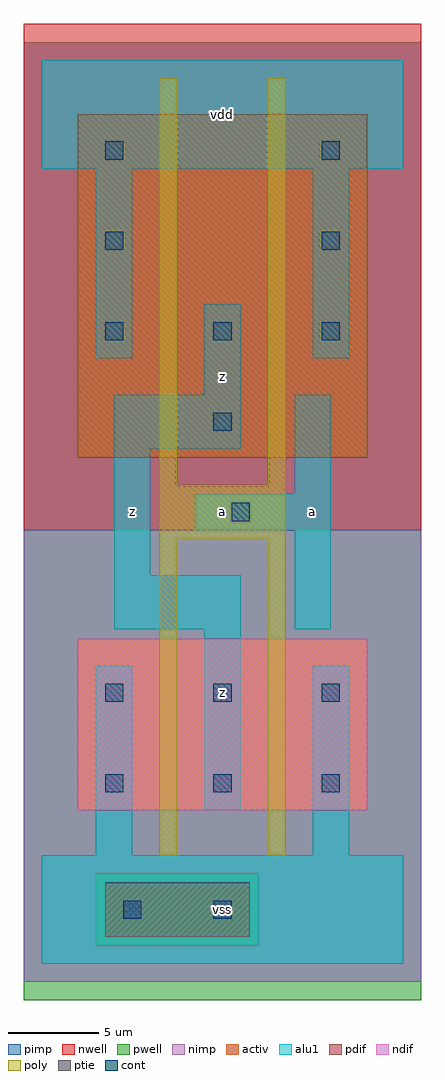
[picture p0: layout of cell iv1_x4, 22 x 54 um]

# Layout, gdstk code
import gdstk
lib = gdstk.Library(unit=1e-6, precision=1e-09)
def R(c, l, rs):  # rectangles x0, y0, x1, y1
    for r in rs: c.add(gdstk.rectangle(r[:2], r[2:], *l))
def A(c, l, x, y, w, h, nx, ny, dx, dy):  # array of equal rectangles
    R(c, l, [(x+i*dx, y+j*dy, x+i*dx+w, y+j*dy+h) for i in range(nx) for j in range(ny)])
ndif = (3, 0)
pdif = (4, 0)
ptie = (6, 0)
cont = (25, 0)
pwell = (41, 0)
nwell = (42, 0)
activ = (43, 0)
pimp = (44, 0)
nimp = (45, 0)
poly = (46, 0)
alu1 = (49, 0)

iv1_x4 = lib.new_cell('iv1_x4')
R(iv1_x4, ndif, [(2,8.5,18,18)])
R(iv1_x4, pdif, [(2,28,18,47)])
R(iv1_x4, ptie, [(3.5,1.5,11.5,4.5)])
A(iv1_x4, cont, 3.5, 9.5, 1, 1, 3, 2, 6, 5)
A(iv1_x4, cont, 3.5, 34.5, 1, 1, 3, 1, 6, 0)
R(iv1_x4, cont, [(4.5,2.5,5.5,3.5), (9.5,2.5,10.5,3.5), (10.5,24.5,11.5,25.5), (9.5,29.5,10.5,30.5), (3.5,39.5,4.5,40.5), (15.5,39.5,16.5,40.5), (3.5,44.5,4.5,45.5), (15.5,44.5,16.5,45.5)])
R(iv1_x4, pwell, [(-1,-2,21,24)])
R(iv1_x4, nwell, [(-1,24,21,52)])
R(iv1_x4, activ, [(3.5,1.5,11.5,4.5), (2,8.5,18,18), (2,28,18,47)])
R(iv1_x4, pimp, [(3,1,12,5), (-1,24,21,51)])
R(iv1_x4, nimp, [(-1,-1,21,1), (-1,1,3,5), (12,1,21,5), (-1,5,21,24)])
R(iv1_x4, poly, [(6.5,6,7.5,23.5), (12.5,6,13.5,23.5), (6.5,23.5,13.5,26.5), (6.5,26.5,7.5,49), (12.5,26.5,13.5,49)])
R(iv1_x4, alu1, [(0,0,20,6), (3,6,5,16.5), (15,6,17,16.5), (9,8.5,11,18.5), (4,18.5,11,21.5), (14,18.5,16,24), (4,21.5,6,28.5), (8.5,24,16,26), (14,26,16,31.5), (4,28.5,11,31.5), (9,31.5,11,36.5), (3,33.5,5,44), (15,33.5,17,44), (0,44,20,50)])
iv1_x4.add(gdstk.Label('z', (5,25), layer=49, texttype=0))
iv1_x4.add(gdstk.Label('vss', (10,3), layer=49, texttype=0))
iv1_x4.add(gdstk.Label('z', (10,15), layer=49, texttype=0))
iv1_x4.add(gdstk.Label('a', (10,25), layer=49, texttype=0))
iv1_x4.add(gdstk.Label('z', (10,32.5), layer=49, texttype=0))
iv1_x4.add(gdstk.Label('vdd', (10,47), layer=49, texttype=0))
iv1_x4.add(gdstk.Label('a', (15,25), layer=49, texttype=0))

lib.write_gds('iv1_x4.gds')
